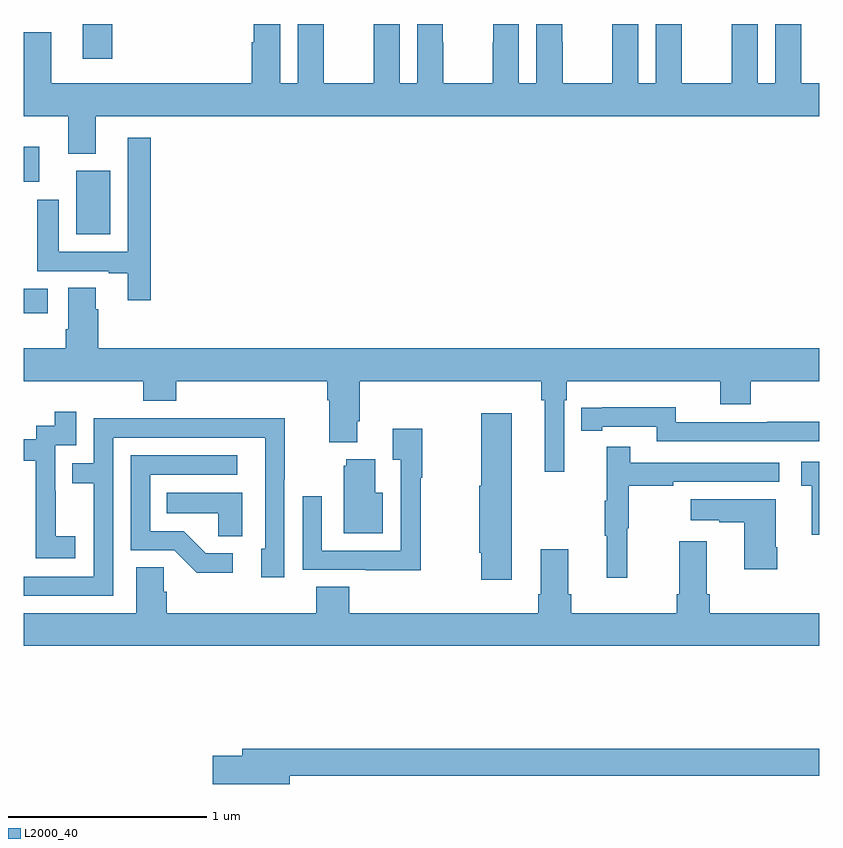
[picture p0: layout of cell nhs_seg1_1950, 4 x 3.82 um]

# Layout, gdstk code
import gdstk
lib = gdstk.Library(unit=1e-6, precision=1e-09)
def R(c, l, rs):  # rectangles x0, y0, x1, y1
    for r in rs: c.add(gdstk.rectangle(r[:2], r[2:], *l))
def P(c, l, *ps):  # polygons
    for p in ps: c.add(gdstk.Polygon(p, *l))
L2000_40 = (2000, 40)

nhs_seg1_1950 = lib.new_cell('nhs_seg1_1950')
R(nhs_seg1_1950, L2000_40, [(217,546.746,217.12,546.868), (217.265,547.142,217.435,547.462), (217,547.406,217.078,547.582), (217.298,548.025,217.445,548.199)])
P(nhs_seg1_1950, L2000_40, [(217.363,547.736),(221,547.736),(221,547.9),(220.909,547.9),(220.909,548.108),(220.908,548.108),(220.908,548.199),(220.778,548.199),(220.778,547.9),(220.69,547.9),(220.69,548.199),(220.56,548.199),(220.56,548.108),(220.559,548.108),(220.559,547.9),(220.309,547.9),(220.309,548.108),(220.308,548.108),(220.308,548.199),(220.178,548.199),(220.178,547.9),(220.09,547.9),(220.09,548.199),(219.96,548.199),(219.96,548.108),(219.959,548.108),(219.959,547.9),(219.709,547.9),(219.709,548.108),(219.708,548.108),(219.708,548.199),(219.578,548.199),(219.578,547.9),(219.49,547.9),(219.49,548.199),(219.36,548.199),(219.36,548.108),(219.359,548.108),(219.359,547.9),(219.109,547.9),(219.109,548.108),(219.108,548.108),(219.108,548.199),(218.978,548.199),(218.978,547.9),(218.89,547.9),(218.89,548.199),(218.76,548.199),(218.76,548.108),(218.759,548.108),(218.759,547.9),(218.509,547.9),(218.509,548.108),(218.508,548.108),(218.508,548.199),(218.378,548.199),(218.378,547.9),(218.29,547.9),(218.29,548.199),(218.156,548.199),(218.156,548.108),(218.147,548.108),(218.147,547.9),(217.138,547.9),(217.138,548.158),(217,548.158),(217,547.736),(217.223,547.736),(217.223,547.547),(217.363,547.547)],
  [(217.64,547.627),(217.524,547.627),(217.524,547.053),(217.177,547.053),(217.177,547.315),(217.067,547.315),(217.067,546.957),(217.427,546.957),(217.427,546.945),(217.523,546.945),(217.523,546.81),(217.64,546.81)],
  [(219.717,546.308),(219.731,546.308),(219.731,546.404),(220.502,546.404),(220.502,546.287),(220.655,546.287),(220.655,546.404),(221,546.404),(221,546.568),(217.376,546.568),(217.376,546.764),(217.363,546.764),(217.363,546.872),(217.223,546.872),(217.223,546.664),(217.211,546.664),(217.211,546.568),(217,546.568),(217,546.404),(217.601,546.404),(217.601,546.305),(217.766,546.305),(217.766,546.404),(218.525,546.404),(218.525,546.308),(218.537,546.308),(218.537,546.095),(218.677,546.095),(218.677,546.202),(218.69,546.202),(218.69,546.404),(219.601,546.404),(219.601,546.308),(219.62,546.308),(219.62,545.949),(219.717,545.949)],
  [(221,546.2),(220.738,546.2),(220.738,546.198),(220.278,546.198),(220.278,546.271),(219.91,546.271),(219.91,546.27),(219.802,546.27),(219.802,546.154),(219.91,546.154),(219.91,546.174),(220.182,546.174),(220.182,546.102),(221,546.102)],
  [(217.258,545.623),(217.16,545.623),(217.16,545.852),(217.158,545.852),(217.158,546.081),(217.263,546.081),(217.263,546.25),(217.155,546.25),(217.155,546.18),(217.062,546.18),(217.062,546.111),(217,546.111),(217,546.003),(217.061,546.003),(217.061,545.719),(217.06,545.719),(217.06,545.513),(217.258,545.513)],
  [(219.454,546.241),(219.301,546.241),(219.301,545.877),(219.29,545.877),(219.29,545.541),(219.301,545.541),(219.301,545.406),(219.454,545.406)],
  [(217.449,546.12),(218.214,546.12),(218.214,545.562),(218.195,545.562),(218.195,545.418),(218.31,545.418),(218.31,545.911),(218.313,545.911),(218.313,546.218),(217.849,546.218),(217.849,546.216),(217.353,546.216),(217.353,545.991),(217.243,545.991),(217.243,545.89),(217.353,545.89),(217.353,545.421),(217,545.421),(217,545.325),(217.449,545.325)],
  [(218.996,545.918),(219.004,545.918),(219.004,546.163),(218.855,546.163),(218.855,546.007),(218.895,546.007),(218.895,545.55),(218.499,545.55),(218.499,545.824),(218.403,545.824),(218.403,545.454),(218.719,545.454),(218.719,545.453),(218.996,545.453)],
  [(220.034,545.664),(220.042,545.664),(220.042,545.878),(220.265,545.878),(220.265,545.898),(220.798,545.898),(220.798,545.994),(220.049,545.994),(220.049,546.073),(219.932,546.073),(219.932,545.801),(219.921,545.801),(219.921,545.627),(219.932,545.627),(219.932,545.415),(220.034,545.415)],
  [(218.05,545.538),(217.915,545.538),(217.804,545.649),(217.635,545.649),(217.635,545.934),(218.074,545.934),(218.074,546.03),(217.539,546.03),(217.539,545.553),(217.758,545.553),(217.871,545.441),(218.05,545.441)],
  [(218.806,545.842),(218.767,545.842),(218.767,546.01),(218.621,546.01),(218.621,545.979),(218.609,545.979),(218.609,545.639),(218.806,545.639)],
  [(221,545.998),(220.908,545.998),(220.908,545.877),(220.961,545.877),(220.961,545.631),(221,545.631)],
  [(218.098,545.842),(217.72,545.842),(217.72,545.738),(217.977,545.738),(217.977,545.623),(218.098,545.623)],
  [(220.788,545.569),(220.78,545.569),(220.78,545.809),(220.353,545.809),(220.353,545.705),(220.496,545.705),(220.496,545.695),(220.622,545.695),(220.622,545.457),(220.788,545.457)],
  [(217.704,545.345),(217.704,545.468),(217.565,545.468),(217.565,545.236),(217,545.236),(217,545.072),(221,545.072),(221,545.236),(220.448,545.236),(220.448,545.332),(220.435,545.332),(220.435,545.599),(220.295,545.599),(220.295,545.332),(220.283,545.332),(220.283,545.236),(219.752,545.236),(219.752,545.332),(219.739,545.332),(219.739,545.557),(219.599,545.557),(219.599,545.332),(219.587,545.332),(219.587,545.236),(218.636,545.236),(218.636,545.369),(218.471,545.369),(218.471,545.236),(217.718,545.236),(217.718,545.345)],
  [(218.338,544.42),(221,544.42),(221,544.556),(218.099,544.556),(218.099,544.52),(217.95,544.52),(217.95,544.378),(218.338,544.378)])

lib.write_gds('nhs_seg1_1950.gds')
